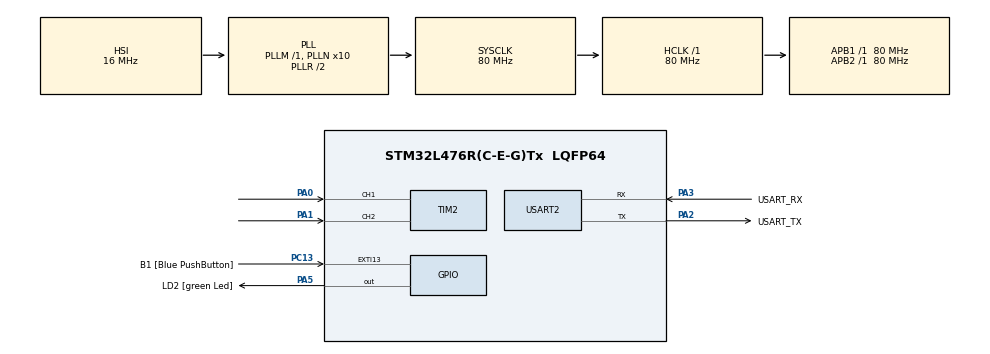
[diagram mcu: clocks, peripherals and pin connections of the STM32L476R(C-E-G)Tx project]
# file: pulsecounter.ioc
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Mcu.Family=STM32L4
Mcu.Name=STM32L476R(C-E-G)Tx
Mcu.Package=LQFP64
NVIC.PriorityGroup=NVIC_PRIORITYGROUP_4
PA0.Signal=S_TIM2_CH1
PA1.Signal=S_TIM2_CH2
PA13\ (JTMS-SWDIO).GPIO_Label=TMS
PA13\ (JTMS-SWDIO).Mode=Serial_Wire
PA13\ (JTMS-SWDIO).Signal=SYS_JTMS-SWDIO
PA14\ (JTCK-SWCLK).GPIO_Label=TCK
PA14\ (JTCK-SWCLK).Mode=Serial_Wire
PA14\ (JTCK-SWCLK).Signal=SYS_JTCK-SWCLK
PA2.GPIO_Label=USART_TX
PA2.GPIO_Mode=GPIO_MODE_AF_PP
PA2.GPIO_PuPd=GPIO_NOPULL
PA2.GPIO_Speed=GPIO_SPEED_FREQ_VERY_HIGH
PA2.Mode=Asynchronous
PA2.Signal=USART2_TX
PA3.GPIO_Label=USART_RX
PA3.GPIO_Mode=GPIO_MODE_AF_PP
PA3.GPIO_PuPd=GPIO_NOPULL
PA3.GPIO_Speed=GPIO_SPEED_FREQ_VERY_HIGH
PA3.Mode=Asynchronous
PA3.Signal=USART2_RX
PA5.GPIO_Label=LD2 [green Led]
PA5.GPIO_ModeDefaultOutputPP=GPIO_MODE_OUTPUT_PP
PA5.GPIO_PuPd=GPIO_NOPULL
PA5.GPIO_Speed=GPIO_SPEED_FREQ_LOW
PA5.Signal=GPIO_Output
PB3\ (JTDO-TRACESWO).GPIO_Label=SWO
PB3\ (JTDO-TRACESWO).Signal=SYS_JTDO-SWO
PC13.GPIO_Label=B1 [Blue PushButton]
PC13.GPIO_ModeDefaultEXTI=GPIO_MODE_IT_FALLING
PC13.GPIO_PuPd=GPIO_NOPULL
PC13.Signal=GPXTI13
PC14-OSC32_IN\ (PC14).Mode=LSE-External-Oscillator
PC14-OSC32_IN\ (PC14).Signal=RCC_OSC32_IN
PC15-OSC32_OUT\ (PC15).Mode=LSE-External-Oscillator
PC15-OSC32_OUT\ (PC15).Signal=RCC_OSC32_OUT
PH0-OSC_IN\ (PH0).Signal=RCC_OSC_IN
PH1-OSC_OUT\ (PH1).Signal=RCC_OSC_OUT
ProjectManager.HeapSize=0x200
ProjectManager.StackSize=0x400
ProjectManager.TargetToolchain=STM32CubeIDE
RCC.ADCFreq_Value=64000000
RCC.AHBFreq_Value=80000000
RCC.APB1Freq_Value=80000000
RCC.APB1TimFreq_Value=80000000
RCC.APB2Freq_Value=80000000
RCC.APB2TimFreq_Value=80000000
RCC.CortexFreq_Value=80000000
RCC.HCLKFreq_Value=80000000
RCC.HSE_VALUE=8000000
RCC.HSI_VALUE=16000000
RCC.MSI_VALUE=4000000
RCC.PLLN=10
RCC.PLLSourceVirtual=RCC_PLLSOURCE_HSI
RCC.PREFETCH_ENABLE=1
RCC.SYSCLKFreq_VALUE=80000000
RCC.SYSCLKSource=RCC_SYSCLKSOURCE_PLLCLK
RCC.USBFreq_Value=64000000
RCC.VCOOutputFreq_Value=160000000
SH.S_TIM2_CH1.0=TIM2_CH1,Encoder_Interface
SH.S_TIM2_CH2.0=TIM2_CH2,Encoder_Interface
USART2.VirtualMode-Asynchronous=VM_ASYNC
board=NUCLEO-L476RG

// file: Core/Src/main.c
/* USER CODE BEGIN Header */
/**
  ******************************************************************************
  * @file           : main.c
  * @brief          : Main program body
  ******************************************************************************
  * @attention
  *
  * <h2><center>&copy; Copyright (c) 2021 STMicroelectronics.
  * All rights reserved.</center></h2>
  *
  * This software component is licensed by ST under BSD 3-Clause license,
  * the "License"; You may not use this file except in compliance with the
  * License. You may obtain a copy of the License at:
  *                        opensource.org/licenses/BSD-3-Clause
  *
  ******************************************************************************
  */
/* USER CODE END Header */
#include "main.h"

/* USER CODE BEGIN Includes */
#include <stdio.h>
#include <errno.h>

/* USER CODE END Includes */

TIM_HandleTypeDef htim2;

UART_HandleTypeDef huart2;

/* USER CODE BEGIN PV */
#include  <sys/unistd.h> // STDOUT_FILENO, STDERR_FILENO

int _read(int fd, char *ptr, int len) {
	  HAL_StatusTypeDef hstatus;
	if (fd == STDIN_FILENO ) {
		hstatus = HAL_UART_Receive(&huart2, (uint8_t *) ptr, 1, HAL_MAX_DELAY);
	    hstatus = HAL_UART_Transmit(&huart2, (uint8_t *) ptr, 1, HAL_MAX_DELAY);
	}
	return 1;
}

int _write(int fd, char* ptr, int len) {
  HAL_StatusTypeDef hstatus;

  if (fd == STDOUT_FILENO || fd == STDERR_FILENO) {
    hstatus = HAL_UART_Transmit(&huart2, (uint8_t *) ptr, len, HAL_MAX_DELAY);
    if (hstatus == HAL_OK)
      return len;
    else
      return EIO;
  }
  errno = EBADF;
  return -1;
}

/* USER CODE END PV */

void SystemClock_Config(void);
static void MX_GPIO_Init(void);
static void MX_USART2_UART_Init(void);
static void MX_TIM2_Init(void);

int main(void)
{

  /* MCU Configuration--------------------------------------------------------*/

  /* Reset of all peripherals, Initializes the Flash interface and the Systick. */
  HAL_Init();

  /* Configure the system clock */
  SystemClock_Config();

  /* Initialize all configured peripherals */
  MX_GPIO_Init();
  MX_USART2_UART_Init();
  MX_TIM2_Init();
  /* USER CODE BEGIN 2 */
  printf("pulsecounter\r\n");
  HAL_TIM_Encoder_Start(&htim2, TIM_CHANNEL_ALL);
  /* USER CODE END 2 */

  /* Infinite loop */
  /* USER CODE BEGIN WHILE */
  while (1)
  {
	  printf("%d\r\n", TIM2->CNT);
    /* USER CODE END WHILE */

  }
}

void SystemClock_Config(void)
{
  RCC_OscInitTypeDef RCC_OscInitStruct = {0};
  RCC_ClkInitTypeDef RCC_ClkInitStruct = {0};
  RCC_PeriphCLKInitTypeDef PeriphClkInit = {0};

  /** Initializes the RCC Oscillators according to the specified parameters
  * in the RCC_OscInitTypeDef structure.
  */
  RCC_OscInitStruct.OscillatorType = RCC_OSCILLATORTYPE_HSI;
  RCC_OscInitStruct.HSIState = RCC_HSI_ON;
  RCC_OscInitStruct.HSICalibrationValue = RCC_HSICALIBRATION_DEFAULT;
  RCC_OscInitStruct.PLL.PLLState = RCC_PLL_ON;
  RCC_OscInitStruct.PLL.PLLSource = RCC_PLLSOURCE_HSI;
  RCC_OscInitStruct.PLL.PLLM = 1;
  RCC_OscInitStruct.PLL.PLLN = 10;
  RCC_OscInitStruct.PLL.PLLP = RCC_PLLP_DIV7;
  RCC_OscInitStruct.PLL.PLLQ = RCC_PLLQ_DIV2;
  RCC_OscInitStruct.PLL.PLLR = RCC_PLLR_DIV2;
  if (HAL_RCC_OscConfig(&RCC_OscInitStruct) != HAL_OK)
  {
    Error_Handler();
  }
  /** Initializes the CPU, AHB and APB buses clocks
  */
  RCC_ClkInitStruct.ClockType = RCC_CLOCKTYPE_HCLK|RCC_CLOCKTYPE_SYSCLK
                              |RCC_CLOCKTYPE_PCLK1|RCC_CLOCKTYPE_PCLK2;
  RCC_ClkInitStruct.SYSCLKSource = RCC_SYSCLKSOURCE_PLLCLK;
  RCC_ClkInitStruct.AHBCLKDivider = RCC_SYSCLK_DIV1;
  RCC_ClkInitStruct.APB1CLKDivider = RCC_HCLK_DIV1;
  RCC_ClkInitStruct.APB2CLKDivider = RCC_HCLK_DIV1;

  if (HAL_RCC_ClockConfig(&RCC_ClkInitStruct, FLASH_LATENCY_4) != HAL_OK)
  {
    Error_Handler();
  }
  PeriphClkInit.PeriphClockSelection = RCC_PERIPHCLK_USART2;
  PeriphClkInit.Usart2ClockSelection = RCC_USART2CLKSOURCE_PCLK1;
  if (HAL_RCCEx_PeriphCLKConfig(&PeriphClkInit) != HAL_OK)
  {
    Error_Handler();
  }
  /** Configure the main internal regulator output voltage
  */
  if (HAL_PWREx_ControlVoltageScaling(PWR_REGULATOR_VOLTAGE_SCALE1) != HAL_OK)
  {
    Error_Handler();
  }
}

static void MX_TIM2_Init(void)
{

  TIM_Encoder_InitTypeDef sConfig = {0};
  TIM_MasterConfigTypeDef sMasterConfig = {0};

  htim2.Instance = TIM2;
  htim2.Init.Prescaler = 0;
  htim2.Init.CounterMode = TIM_COUNTERMODE_UP;
  htim2.Init.Period = 4294967295;
  htim2.Init.ClockDivision = TIM_CLOCKDIVISION_DIV1;
  htim2.Init.AutoReloadPreload = TIM_AUTORELOAD_PRELOAD_DISABLE;
  sConfig.EncoderMode = TIM_ENCODERMODE_TI1;
  sConfig.IC1Polarity = TIM_ICPOLARITY_RISING;
  sConfig.IC1Selection = TIM_ICSELECTION_DIRECTTI;
  sConfig.IC1Prescaler = TIM_ICPSC_DIV1;
  sConfig.IC1Filter = 0;
  sConfig.IC2Polarity = TIM_ICPOLARITY_RISING;
  sConfig.IC2Selection = TIM_ICSELECTION_DIRECTTI;
  sConfig.IC2Prescaler = TIM_ICPSC_DIV1;
  sConfig.IC2Filter = 0;
  if (HAL_TIM_Encoder_Init(&htim2, &sConfig) != HAL_OK)
  {
    Error_Handler();
  }
  sMasterConfig.MasterOutputTrigger = TIM_TRGO_RESET;
  sMasterConfig.MasterSlaveMode = TIM_MASTERSLAVEMODE_DISABLE;
  if (HAL_TIMEx_MasterConfigSynchronization(&htim2, &sMasterConfig) != HAL_OK)
  {
    Error_Handler();
  }

}

static void MX_USART2_UART_Init(void)
{

  huart2.Instance = USART2;
  huart2.Init.BaudRate = 115200;
  huart2.Init.WordLength = UART_WORDLENGTH_8B;
  huart2.Init.StopBits = UART_STOPBITS_1;
  huart2.Init.Parity = UART_PARITY_NONE;
  huart2.Init.Mode = UART_MODE_TX_RX;
  huart2.Init.HwFlowCtl = UART_HWCONTROL_NONE;
  huart2.Init.OverSampling = UART_OVERSAMPLING_16;
  huart2.Init.OneBitSampling = UART_ONE_BIT_SAMPLE_DISABLE;
  huart2.AdvancedInit.AdvFeatureInit = UART_ADVFEATURE_NO_INIT;
  if (HAL_UART_Init(&huart2) != HAL_OK)
  {
    Error_Handler();
  }

}

static void MX_GPIO_Init(void)
{
  GPIO_InitTypeDef GPIO_InitStruct = {0};

  /* GPIO Ports Clock Enable */
  __HAL_RCC_GPIOC_CLK_ENABLE();
  __HAL_RCC_GPIOH_CLK_ENABLE();
  __HAL_RCC_GPIOA_CLK_ENABLE();
  __HAL_RCC_GPIOB_CLK_ENABLE();

  /*Configure GPIO pin Output Level */
  HAL_GPIO_WritePin(LD2_GPIO_Port, LD2_Pin, GPIO_PIN_RESET);

  /*Configure GPIO pin : B1_Pin */
  GPIO_InitStruct.Pin = B1_Pin;
  GPIO_InitStruct.Mode = GPIO_MODE_IT_FALLING;
  GPIO_InitStruct.Pull = GPIO_NOPULL;
  HAL_GPIO_Init(B1_GPIO_Port, &GPIO_InitStruct);

  /*Configure GPIO pin : LD2_Pin */
  GPIO_InitStruct.Pin = LD2_Pin;
  GPIO_InitStruct.Mode = GPIO_MODE_OUTPUT_PP;
  GPIO_InitStruct.Pull = GPIO_NOPULL;
  GPIO_InitStruct.Speed = GPIO_SPEED_FREQ_LOW;
  HAL_GPIO_Init(LD2_GPIO_Port, &GPIO_InitStruct);

}

void Error_Handler(void)
{
  __disable_irq();
  while (1)
  {
  }
}

/************************ (C) COPYRIGHT STMicroelectronics *****END OF FILE****/
